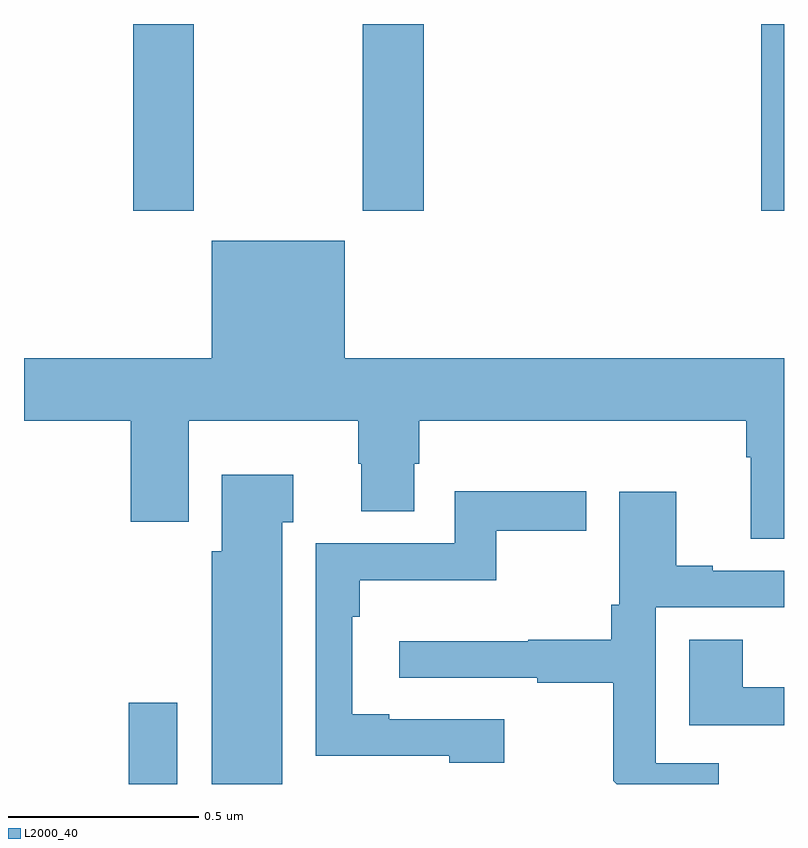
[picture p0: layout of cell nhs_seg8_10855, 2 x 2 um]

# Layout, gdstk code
import gdstk
lib = gdstk.Library(unit=1e-6, precision=1e-09)
def R(c, l, rs):  # rectangles x0, y0, x1, y1
    for r in rs: c.add(gdstk.rectangle(r[:2], r[2:], *l))
def P(c, l, *ps):  # polygons
    for p in ps: c.add(gdstk.Polygon(p, *l))
L2000_40 = (2000, 40)

nhs_seg8_10855 = lib.new_cell('nhs_seg8_10855')
R(nhs_seg8_10855, L2000_40, [(255.275,1092.9,255.403,1093.114), (255.287,1094.409,255.447,1094.9), (255.892,1094.409,256.052,1094.9), (256.94,1094.409,257,1094.9)])
P(nhs_seg8_10855, L2000_40, [(257,1094.02),(255.844,1094.02),(255.844,1094.329),(255.494,1094.329),(255.494,1094.02),(255,1094.02),(255,1093.856),(255.281,1093.856),(255.281,1093.59),(255.433,1093.59),(255.433,1093.856),(255.88,1093.856),(255.88,1093.743),(255.887,1093.743),(255.887,1093.618),(256.027,1093.618),(256.027,1093.743),(256.04,1093.743),(256.04,1093.856),(256.901,1093.856),(256.901,1093.76),(256.913,1093.76),(256.913,1093.546),(257,1093.546)],
  [(255.679,1093.589),(255.709,1093.589),(255.709,1093.714),(255.521,1093.714),(255.521,1093.512),(255.494,1093.512),(255.494,1092.9),(255.679,1092.9)],
  [(256.264,1093.071),(255.961,1093.071),(255.961,1093.084),(255.864,1093.084),(255.864,1093.34),(255.884,1093.34),(255.884,1093.436),(256.243,1093.436),(256.243,1093.567),(256.48,1093.567),(256.48,1093.67),(256.134,1093.67),(256.134,1093.533),(255.768,1093.533),(255.768,1092.975),(256.119,1092.975),(256.119,1092.956),(256.264,1092.956)],
  [(256.828,1092.954),(256.662,1092.954),(256.662,1093.365),(257,1093.365),(257,1093.461),(256.813,1093.461),(256.813,1093.474),(256.717,1093.474),(256.717,1093.669),(256.566,1093.669),(256.566,1093.372),(256.546,1093.372),(256.546,1093.28),(256.327,1093.28),(256.327,1093.276),(255.987,1093.276),(255.987,1093.179),(256.351,1093.179),(256.351,1093.167),(256.551,1093.167),(256.551,1092.909),(256.56,1092.9),(256.828,1092.9)],
  [(257,1093.155),(256.891,1093.155),(256.891,1093.28),(256.751,1093.28),(256.751,1093.054),(257,1093.054)])

lib.write_gds('nhs_seg8_10855.gds')
